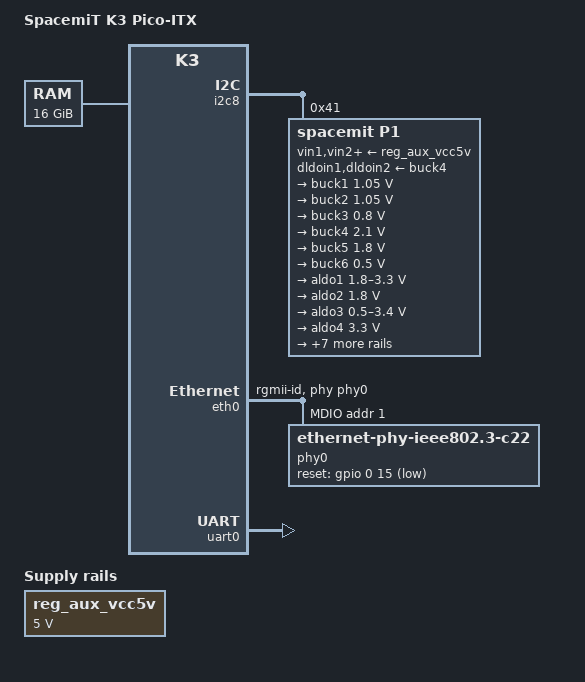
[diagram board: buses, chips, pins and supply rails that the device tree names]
// SPDX-License-Identifier: (GPL-2.0 OR MIT)
/*
 * Copyright (c) 2026 SpacemiT (Hangzhou) Technology Co. Ltd
 * Copyright (c) 2026 Guodong Xu <guodong@riscstar.com>
 */
#include <dt-bindings/gpio/gpio.h>

#include "k3.dtsi"
#include "k3-pinctrl.dtsi"

/ {
	model = "SpacemiT K3 Pico-ITX";
	compatible = "spacemit,k3-pico-itx", "spacemit,k3";

	aliases {
		ethernet0 = &eth0;
		serial0 = &uart0;
	};

	chosen {
		stdout-path = "serial0";
	};

	memory@100000000 {
		device_type = "memory";
		reg = <0x1 0x00000000 0x4 0x00000000>;
	};

	reg_aux_vcc5v: regulator-aux-vcc5v {
		compatible = "regulator-fixed";
		regulator-name = "AUX_VCC5V";
		regulator-min-microvolt = <5000000>;
		regulator-max-microvolt = <5000000>;
		regulator-always-on;
	};
};

&i2c8 {
	pinctrl-names = "default";
	pinctrl-0 = <&i2c8_cfg>;
	status = "okay";

	p1@41 {
		compatible = "spacemit,p1";
		reg = <0x41>;
		interrupts = <64 IRQ_TYPE_LEVEL_HIGH>;
		vin1-supply = <&reg_aux_vcc5v>;
		vin2-supply = <&reg_aux_vcc5v>;
		vin3-supply = <&reg_aux_vcc5v>;
		vin4-supply = <&reg_aux_vcc5v>;
		vin5-supply = <&reg_aux_vcc5v>;
		vin6-supply = <&reg_aux_vcc5v>;
		aldoin-supply = <&reg_aux_vcc5v>;
		dldoin1-supply = <&buck4>;
		dldoin2-supply = <&buck4>;

		regulators {
			buck1: buck1 {
				regulator-min-microvolt = <1050000>;
				regulator-max-microvolt = <1050000>;
				regulator-ramp-delay = <5000>;
				regulator-always-on;
			};

			buck2: buck2 {
				regulator-min-microvolt = <1050000>;
				regulator-max-microvolt = <1050000>;
				regulator-ramp-delay = <5000>;
				regulator-always-on;
			};

			buck3: buck3 {
				regulator-min-microvolt = <800000>;
				regulator-max-microvolt = <800000>;
				regulator-ramp-delay = <5000>;
				regulator-always-on;
			};

			buck4: buck4 {
				regulator-min-microvolt = <2100000>;
				regulator-max-microvolt = <2100000>;
				regulator-ramp-delay = <5000>;
				regulator-always-on;
			};

			buck5: buck5 {
				regulator-min-microvolt = <1800000>;
				regulator-max-microvolt = <1800000>;
				regulator-ramp-delay = <5000>;
				regulator-always-on;
			};

			buck6: buck6 {
				regulator-min-microvolt = <500000>;
				regulator-max-microvolt = <500000>;
				regulator-ramp-delay = <5000>;
				regulator-always-on;
			};

			aldo1: aldo1 {
				regulator-min-microvolt = <1800000>;
				regulator-max-microvolt = <3300000>;
				regulator-always-on;
				regulator-boot-on;
			};

			aldo2: aldo2 {
				regulator-min-microvolt = <1800000>;
				regulator-max-microvolt = <1800000>;
				regulator-always-on;
				regulator-boot-on;
			};

			aldo3: aldo3 {
				regulator-min-microvolt = <500000>;
				regulator-max-microvolt = <3400000>;
			};

			aldo4: aldo4 {
				regulator-min-microvolt = <3300000>;
				regulator-max-microvolt = <3300000>;
				regulator-always-on;
				regulator-boot-on;
			};

			dldo1: dldo1 {
				regulator-min-microvolt = <1200000>;
				regulator-max-microvolt = <1200000>;
				regulator-always-on;
				regulator-boot-on;
			};

			dldo2: dldo2 {
				regulator-min-microvolt = <900000>;
				regulator-max-microvolt = <900000>;
				regulator-always-on;
				regulator-boot-on;
			};

			dldo3: dldo3 {
				regulator-min-microvolt = <800000>;
				regulator-max-microvolt = <800000>;
				regulator-always-on;
				regulator-boot-on;
			};

			dldo4: dldo4 {
				regulator-min-microvolt = <1800000>;
				regulator-max-microvolt = <1800000>;
				regulator-boot-on;
			};

			dldo5: dldo5 {
				regulator-min-microvolt = <1800000>;
				regulator-max-microvolt = <1800000>;
				regulator-always-on;
				regulator-boot-on;
			};

			dldo6: dldo6 {
				regulator-min-microvolt = <1800000>;
				regulator-max-microvolt = <1800000>;
				regulator-always-on;
				regulator-boot-on;
			};

			dldo7: dldo7 {
				regulator-min-microvolt = <1800000>;
				regulator-max-microvolt = <1800000>;
				regulator-always-on;
				regulator-boot-on;
			};
		};
	};
};

&eth0 {
	pinctrl-names = "default";
	pinctrl-0 = <&gmac0_rgmii_0_cfg>, <&gmac0_phy_0_cfg>;
	phy-mode = "rgmii-id";
	phy-handle = <&phy0>;
	status = "okay";

	mdio {
		phy0: phy@1 {
			compatible = "ethernet-phy-ieee802.3-c22";
			reg = <1>;
			reset-gpios = <&gpio 0 15 GPIO_ACTIVE_LOW>;
			reset-assert-us = <10000>;
			reset-deassert-us = <10000>;
		};
	};
};

&uart0 {
	pinctrl-names = "default";
	pinctrl-0 = <&uart0_0_cfg>;
	status = "okay";
};
